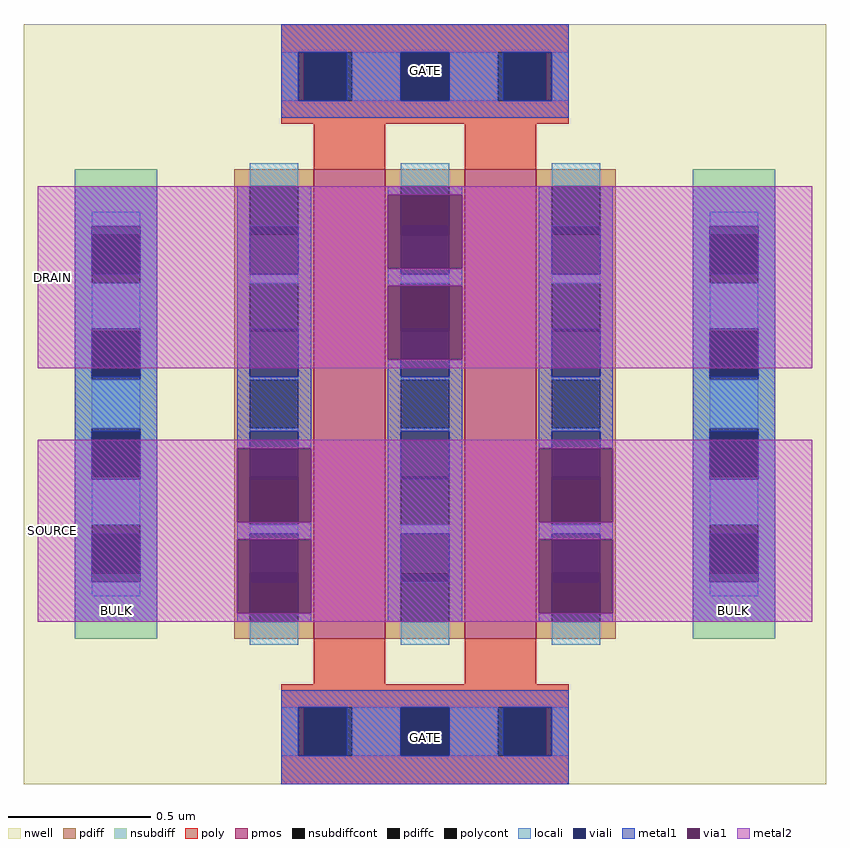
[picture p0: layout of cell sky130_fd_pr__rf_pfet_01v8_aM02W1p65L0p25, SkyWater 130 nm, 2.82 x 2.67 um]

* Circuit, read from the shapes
.subckt sky130_fd_pr__rf_pfet_01v8_aM02W1p65L0p25 BULK DRAIN GATE SOURCE
XM1 DRAIN GATE SOURCE BULK sky130_fd_pr__pfet_01v8 w=1.65 l=0.25 m=2
.ends

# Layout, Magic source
magic
tech sky130A
magscale 1 2
<< nwell >>
rect 0 0 564 534
<< pmos >>
rect 204 102 254 432
rect 310 102 360 432
<< pdiff >>
rect 148 420 204 432
rect 148 386 159 420
rect 193 386 204 420
rect 148 352 204 386
rect 148 318 159 352
rect 193 318 204 352
rect 148 284 204 318
rect 148 250 159 284
rect 193 250 204 284
rect 148 216 204 250
rect 148 182 159 216
rect 193 182 204 216
rect 148 148 204 182
rect 148 114 159 148
rect 193 114 204 148
rect 148 102 204 114
rect 254 420 310 432
rect 254 386 265 420
rect 299 386 310 420
rect 254 352 310 386
rect 254 318 265 352
rect 299 318 310 352
rect 254 284 310 318
rect 254 250 265 284
rect 299 250 310 284
rect 254 216 310 250
rect 254 182 265 216
rect 299 182 310 216
rect 254 148 310 182
rect 254 114 265 148
rect 299 114 310 148
rect 254 102 310 114
rect 360 420 416 432
rect 360 386 371 420
rect 405 386 416 420
rect 360 352 416 386
rect 360 318 371 352
rect 405 318 416 352
rect 360 284 416 318
rect 360 250 371 284
rect 405 250 416 284
rect 360 216 416 250
rect 360 182 371 216
rect 405 182 416 216
rect 360 148 416 182
rect 360 114 371 148
rect 405 114 416 148
rect 360 102 416 114
<< pdiffc >>
rect 159 386 193 420
rect 159 318 193 352
rect 159 250 193 284
rect 159 182 193 216
rect 159 114 193 148
rect 265 386 299 420
rect 265 318 299 352
rect 265 250 299 284
rect 265 182 299 216
rect 265 114 299 148
rect 371 386 405 420
rect 371 318 405 352
rect 371 250 405 284
rect 371 182 405 216
rect 371 114 405 148
<< nsubdiff >>
rect 36 386 94 432
rect 36 352 48 386
rect 82 352 94 386
rect 36 318 94 352
rect 36 284 48 318
rect 82 284 94 318
rect 36 250 94 284
rect 36 216 48 250
rect 82 216 94 250
rect 36 182 94 216
rect 36 148 48 182
rect 82 148 94 182
rect 36 102 94 148
rect 470 386 528 432
rect 470 352 482 386
rect 516 352 528 386
rect 470 318 528 352
rect 470 284 482 318
rect 516 284 528 318
rect 470 250 528 284
rect 470 216 482 250
rect 516 216 528 250
rect 470 182 528 216
rect 470 148 482 182
rect 516 148 528 182
rect 470 102 528 148
<< nsubdiffcont >>
rect 48 352 82 386
rect 48 284 82 318
rect 48 216 82 250
rect 48 148 82 182
rect 482 352 516 386
rect 482 284 516 318
rect 482 216 516 250
rect 482 148 516 182
<< poly >>
rect 181 514 383 534
rect 181 480 197 514
rect 231 480 265 514
rect 299 480 333 514
rect 367 480 383 514
rect 181 464 383 480
rect 204 432 254 464
rect 310 432 360 464
rect 204 70 254 102
rect 310 70 360 102
rect 181 54 383 70
rect 181 20 197 54
rect 231 20 265 54
rect 299 20 333 54
rect 367 20 383 54
rect 181 0 383 20
<< polycont >>
rect 197 480 231 514
rect 265 480 299 514
rect 333 480 367 514
rect 197 20 231 54
rect 265 20 299 54
rect 333 20 367 54
<< locali >>
rect 181 480 193 514
rect 231 480 265 514
rect 299 480 333 514
rect 371 480 383 514
rect 159 420 193 436
rect 48 392 82 402
rect 48 320 82 352
rect 48 250 82 284
rect 48 182 82 214
rect 48 132 82 142
rect 159 352 193 358
rect 159 284 193 286
rect 159 248 193 250
rect 159 176 193 182
rect 159 98 193 114
rect 265 420 299 436
rect 265 352 299 358
rect 265 284 299 286
rect 265 248 299 250
rect 265 176 299 182
rect 265 98 299 114
rect 371 420 405 436
rect 371 352 405 358
rect 371 284 405 286
rect 371 248 405 250
rect 371 176 405 182
rect 482 392 516 402
rect 482 320 516 352
rect 482 250 516 284
rect 482 182 516 214
rect 482 132 516 142
rect 371 98 405 114
rect 181 20 193 54
rect 231 20 265 54
rect 299 20 333 54
rect 371 20 383 54
<< viali >>
rect 193 480 197 514
rect 197 480 227 514
rect 265 480 299 514
rect 337 480 367 514
rect 367 480 371 514
rect 48 386 82 392
rect 48 358 82 386
rect 48 318 82 320
rect 48 286 82 318
rect 48 216 82 248
rect 48 214 82 216
rect 48 148 82 176
rect 48 142 82 148
rect 159 386 193 392
rect 159 358 193 386
rect 159 318 193 320
rect 159 286 193 318
rect 159 216 193 248
rect 159 214 193 216
rect 159 148 193 176
rect 159 142 193 148
rect 265 386 299 392
rect 265 358 299 386
rect 265 318 299 320
rect 265 286 299 318
rect 265 216 299 248
rect 265 214 299 216
rect 265 148 299 176
rect 265 142 299 148
rect 371 386 405 392
rect 371 358 405 386
rect 371 318 405 320
rect 371 286 405 318
rect 371 216 405 248
rect 371 214 405 216
rect 371 148 405 176
rect 371 142 405 148
rect 482 386 516 392
rect 482 358 516 386
rect 482 318 516 320
rect 482 286 516 318
rect 482 216 516 248
rect 482 214 516 216
rect 482 148 516 176
rect 482 142 516 148
rect 193 20 197 54
rect 197 20 227 54
rect 265 20 299 54
rect 337 20 367 54
rect 367 20 371 54
<< metal1 >>
rect 181 514 383 534
rect 181 480 193 514
rect 227 480 265 514
rect 299 480 337 514
rect 371 480 383 514
rect 181 468 383 480
rect 36 392 94 420
rect 36 358 48 392
rect 82 358 94 392
rect 36 320 94 358
rect 36 286 48 320
rect 82 286 94 320
rect 36 248 94 286
rect 36 214 48 248
rect 82 214 94 248
rect 36 176 94 214
rect 36 142 48 176
rect 82 142 94 176
rect 36 114 94 142
rect 150 392 202 420
rect 150 358 159 392
rect 193 358 202 392
rect 150 320 202 358
rect 150 286 159 320
rect 193 286 202 320
rect 150 248 202 286
rect 150 236 159 248
rect 193 236 202 248
rect 150 176 202 184
rect 150 172 159 176
rect 193 172 202 176
rect 150 114 202 120
rect 256 414 308 420
rect 256 358 265 362
rect 299 358 308 362
rect 256 350 308 358
rect 256 286 265 298
rect 299 286 308 298
rect 256 248 308 286
rect 256 214 265 248
rect 299 214 308 248
rect 256 176 308 214
rect 256 142 265 176
rect 299 142 308 176
rect 256 114 308 142
rect 362 392 414 420
rect 362 358 371 392
rect 405 358 414 392
rect 362 320 414 358
rect 362 286 371 320
rect 405 286 414 320
rect 362 248 414 286
rect 362 236 371 248
rect 405 236 414 248
rect 362 176 414 184
rect 362 172 371 176
rect 405 172 414 176
rect 362 114 414 120
rect 470 392 528 420
rect 470 358 482 392
rect 516 358 528 392
rect 470 320 528 358
rect 470 286 482 320
rect 516 286 528 320
rect 470 248 528 286
rect 470 214 482 248
rect 516 214 528 248
rect 470 176 528 214
rect 470 142 482 176
rect 516 142 528 176
rect 470 114 528 142
rect 181 54 383 66
rect 181 20 193 54
rect 227 20 265 54
rect 299 20 337 54
rect 371 20 383 54
rect 181 0 383 20
<< via1 >>
rect 150 214 159 236
rect 159 214 193 236
rect 193 214 202 236
rect 150 184 202 214
rect 150 142 159 172
rect 159 142 193 172
rect 193 142 202 172
rect 150 120 202 142
rect 256 392 308 414
rect 256 362 265 392
rect 265 362 299 392
rect 299 362 308 392
rect 256 320 308 350
rect 256 298 265 320
rect 265 298 299 320
rect 299 298 308 320
rect 362 214 371 236
rect 371 214 405 236
rect 405 214 414 236
rect 362 184 414 214
rect 362 142 371 172
rect 371 142 405 172
rect 405 142 414 172
rect 362 120 414 142
<< metal2 >>
rect 10 414 554 420
rect 10 362 256 414
rect 308 362 554 414
rect 10 350 554 362
rect 10 298 256 350
rect 308 298 554 350
rect 10 292 554 298
rect 10 236 554 242
rect 10 184 150 236
rect 202 184 362 236
rect 414 184 554 236
rect 10 172 554 184
rect 10 120 150 172
rect 202 120 362 172
rect 414 120 554 172
rect 10 114 554 120
<< labels >>
flabel metal2 s 10 114 30 242 7 FreeSans 300 180 0 0 SOURCE
port 4 nsew
flabel metal2 s 10 292 30 420 7 FreeSans 300 180 0 0 DRAIN
port 2 nsew
flabel metal1 s 470 114 528 130 3 FreeSans 300 90 0 0 BULK
port 1 nsew
flabel metal1 s 181 0 383 66 0 FreeSans 300 0 0 0 GATE
port 3 nsew
flabel metal1 s 181 468 383 534 0 FreeSans 300 0 0 0 GATE
port 3 nsew
flabel metal1 s 36 114 94 130 3 FreeSans 300 90 0 0 BULK
port 1 nsew
<< properties >>
string GDS_FILE $PDKPATH/libs.ref/sky130_fd_pr/gds/sky130_fd_pr.gds
string GDS_END 9350120
string GDS_START 9342468
<< end >>
